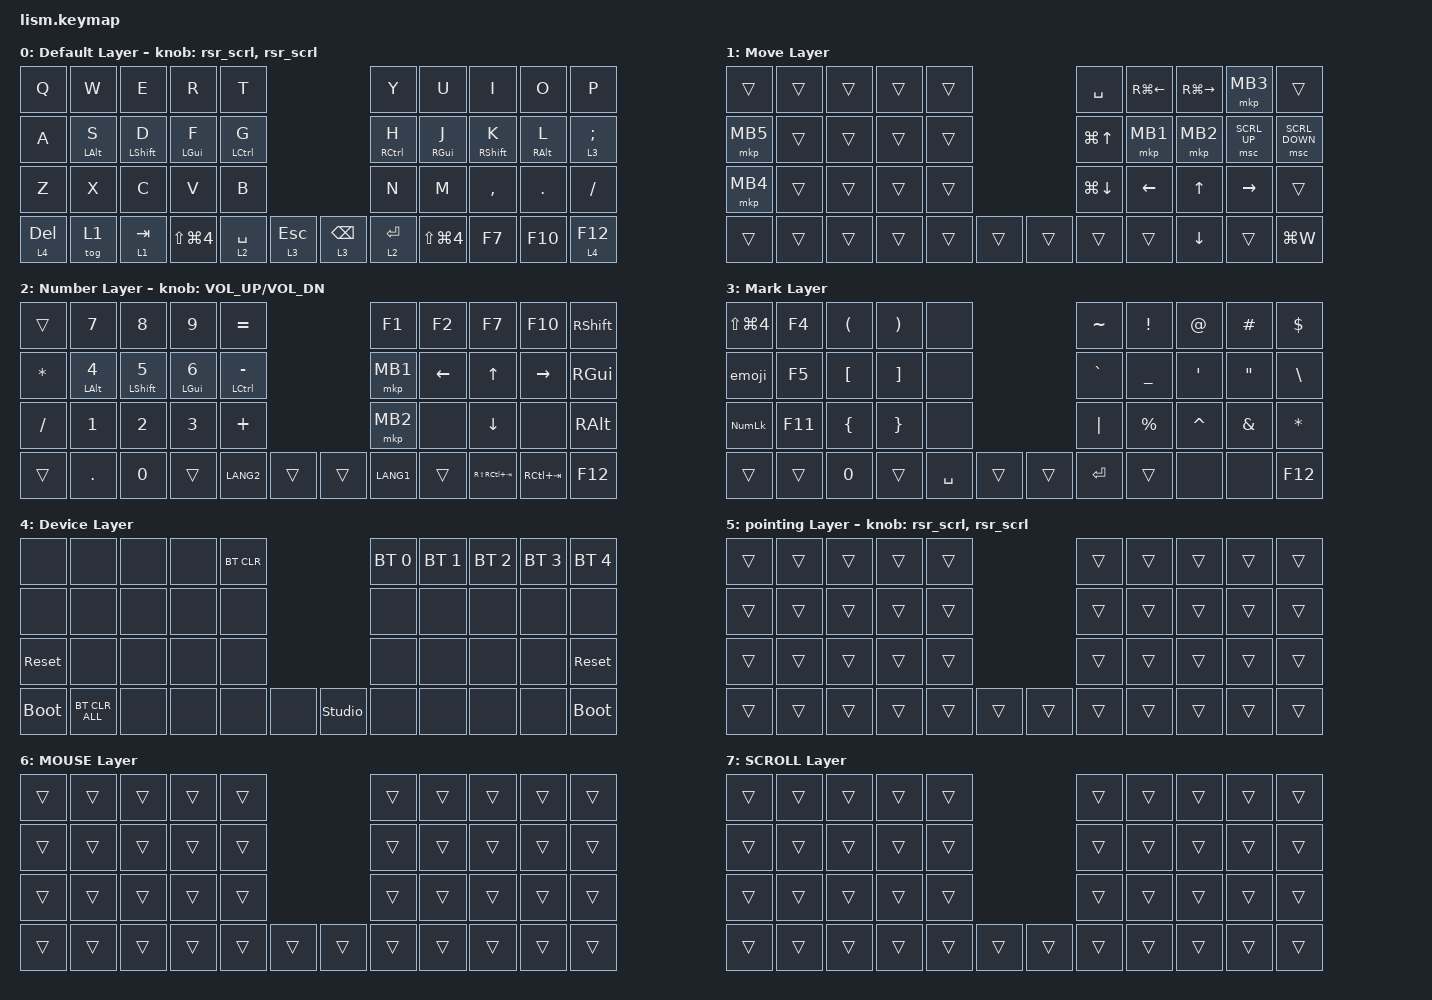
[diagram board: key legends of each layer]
#define ZMK_POINTING_DEFAULT_SCRL_VAL 200

#include <behaviors.dtsi>
#include <dt-bindings/zmk/bt.h>
#include <dt-bindings/zmk/keys.h>
#include <dt-bindings/zmk/pointing.h>
#include <dt-bindings/zmk/mouse.h>
#include <behaviors/runtime-sensor-rotate.dtsi>
#include <input/processors.dtsi>

#define MOUSE 6
#define SCROLL 7

&mt {
    tapping-term-ms = <300>;
    flavor = "balanced";
};

&lt {
    quick-tap-ms = <300>;
};


/ {

    macros {
        emoji: emoji_macro {
            compatible = "zmk,behavior-macro";
            label = "EMOJI";
            #binding-cells = <0>;
            bindings = 
                <&macro_press &kp CAPSLOCK>,
                <&macro_tap &kp E>,
                <&macro_release &kp CAPSLOCK>;
        };

        to_layer_0: to_layer_0 {
            compatible = "zmk,behavior-macro-one-param";
            #binding-cells = <1>;
            bindings = <&to 0 &macro_param_1to1 &kp MACRO_PLACEHOLDER>;
            label = "TO_LAYER_0";
        };
    };

    behaviors {
        encoder_kp: sensor_rotate_kp {
            compatible = "zmk,behavior-sensor-rotate-var";
            #sensor-binding-cells = <2>;
            bindings = <&kp>, <&kp>;
        };

        rsr_scrl: rsr_scrl {
            compatible = "zmk,behavior-runtime-sensor-rotate";
            #sensor-binding-cells = <0>;
            tap-ms = <20>;
            cw-binding = <&msc SCRL_DOWN>;
            ccw-binding = <&msc SCRL_UP>;
        };

        lt_to_layer_0: lt_to_layer_0 {
            compatible = "zmk,behavior-hold-tap";
            label = "LAYER_TAP_TO_0";
            bindings = <&mo>, <&to_layer_0>;

            #binding-cells = <2>;
            tapping-term-ms = <200>;
        };
    };

    keymap {
        compatible = "zmk,keymap";

        default_layer {
            display-name = "Default Layer";
            bindings = <
                &kp Q            &kp W              &kp E                 &kp R                   &kp T                                                  &kp Y        &kp U            &kp I              &kp O               &kp P
                &kp A            &mt LALT S         &mt LSHIFT D          &mt LGUI F              &mt LCTRL G                                            &mt RCTRL H  &mt RGUI J       &mt RSHIFT K       &mt RALT L          &lt 3 SEMICOLON
                &kp Z            &kp X              &kp C                 &kp V                   &kp B                                                  &kp N        &kp M            &kp COMMA          &kp DOT             &kp SLASH
                &lt 4 DELETE     &tog 1             &lt 1 TAB             &kp LS(LG(N4))          &lt 2 SPACE       &lt 3 ESC           &lt 3 BACKSPACE  &lt 2 ENTER  &kp LS(LG(N4))   &kp F7             &kp F10             &lt 4 F12 
            >;
            sensor-bindings = <&rsr_scrl &rsr_scrl>;
        };

        layer_1 {
            display-name = "Move Layer";
            bindings = <
                &trans           &trans             &trans                &trans                  &trans                                                 &kp SPACE    &kp RG(LEFT)     &kp RG(RIGHT)      &mkp MB3            &trans
                &mkp MB5         &trans             &trans                &trans                  &trans                                                 &kp LG(UP)   &mkp MB1         &mkp MB2           &msc SCRL_UP        &msc SCRL_DOWN
                &mkp MB4         &trans             &trans                &trans                  &trans                                                 &kp LG(DOWN) &kp LEFT         &kp UP             &kp RIGHT           &trans
                &trans           &trans             &trans                &trans                  &trans            &trans              &trans           &trans       &trans           &kp DOWN           &trans              &kp LG(W)
            >;
        };

        layer_2 {
            display-name = "Number Layer";
            bindings = <
                &trans           &kp NUMBER_7       &kp NUMBER_8          &kp NUMBER_9            &kp EQUAL                                              &kp F1       &kp F2           &kp F7             &kp F10             &kp RSHIFT
                &kp ASTERISK     &mt LALT NUMBER_4  &mt LSHIFT NUMBER_5   &mt LGUI NUMBER_6       &mt LCTRL MINUS                                        &mkp MB1     &kp LEFT         &kp UP             &kp RIGHT           &kp RGUI
                &kp SLASH        &kp NUMBER_1       &kp NUMBER_2          &kp NUMBER_3            &kp PLUS                                               &mkp MB2     &none            &kp DOWN           &none               &kp RALT
                &trans           &kp DOT            &kp NUMBER_0          &trans                  &kp LANG2         &trans              &trans           &kp LANG1    &trans           &kp RS(RC(TAB))    &kp RC(TAB)         &kp F12 
            >;
            sensor-bindings = <&encoder_kp C_VOL_UP C_VOL_DN>;
        };

        layer_3 {
            display-name = "Mark Layer";
            bindings = <
                &kp LS(LG(N4))   &kp F4             &kp LEFT_PARENTHESIS  &kp RIGHT_PARENTHESIS   &none                                                  &kp TILDE    &kp EXCLAMATION  &kp AT_SIGN        &kp HASH            &kp DOLLAR
                &emoji           &kp F5             &kp LEFT_BRACKET      &kp RIGHT_BRACKET       &none                                                  &kp GRAVE    &kp UNDER        &kp SINGLE_QUOTE   &kp DOUBLE_QUOTES   &kp BACKSLASH
                &kp KP_NUMLOCK   &kp F11            &kp LEFT_BRACE        &kp RIGHT_BRACE         &none                                                  &kp PIPE     &kp PERCENT      &kp CARET          &kp AMPERSAND       &kp ASTERISK
                &trans           &trans             &kp NUMBER_0          &trans                  &kp SPACE         &trans              &trans           &kp ENTER    &trans           &none              &none               &kp F12 
            >;
        };

        layer_4 {
            display-name = "Device Layer";
            bindings = <
                &none            &none              &none                 &none                   &bt BT_CLR                                             &bt BT_SEL 0 &bt BT_SEL 1     &bt BT_SEL 2       &bt BT_SEL 3        &bt BT_SEL 4
                &none            &none              &none                 &none                   &none                                                  &none        &none            &none              &none               &none
                &sys_reset       &none              &none                 &none                   &none                                                  &none        &none            &none              &none               &sys_reset
                &bootloader      &bt BT_CLR_ALL     &none                 &none                   &none             &none               &studio_unlock   &none        &none            &none              &none               &bootloader
            >;
        };

        layer_5 {
            display-name = "pointing Layer";
            bindings = <
                &trans           &trans             &trans                &trans                  &trans                                                 &trans       &trans           &trans             &trans              &trans
                &trans           &trans             &trans                &trans                  &trans                                                 &trans       &trans           &trans             &trans              &trans
                &trans           &trans             &trans                &trans                  &trans                                                 &trans       &trans           &trans             &trans              &trans
                &trans           &trans             &trans                &trans                  &trans            &trans              &trans           &trans       &trans           &trans             &trans              &trans
            >;
            sensor-bindings = <&rsr_scrl &rsr_scrl>;
        };

        layer_6 {
            display-name = "MOUSE Layer";
            bindings = <
                &trans           &trans             &trans                &trans                  &trans                                                 &trans       &trans           &trans             &trans              &trans
                &trans           &trans             &trans                &trans                  &trans                                                 &trans       &trans           &trans             &trans              &trans
                &trans           &trans             &trans                &trans                  &trans                                                 &trans       &trans           &trans             &trans              &trans
                &trans           &trans             &trans                &trans                  &trans            &trans              &trans           &trans       &trans           &trans             &trans              &trans
            >;
        };

        layer_7 {
            display-name = "SCROLL Layer";
            bindings = <
                &trans           &trans             &trans                &trans                  &trans                                                 &trans       &trans           &trans             &trans              &trans
                &trans           &trans             &trans                &trans                  &trans                                                 &trans       &trans           &trans             &trans              &trans
                &trans           &trans             &trans                &trans                  &trans                                                 &trans       &trans           &trans             &trans              &trans
                &trans           &trans             &trans                &trans                  &trans            &trans              &trans           &trans       &trans           &trans             &trans              &trans
            >;
        };
    };

};
